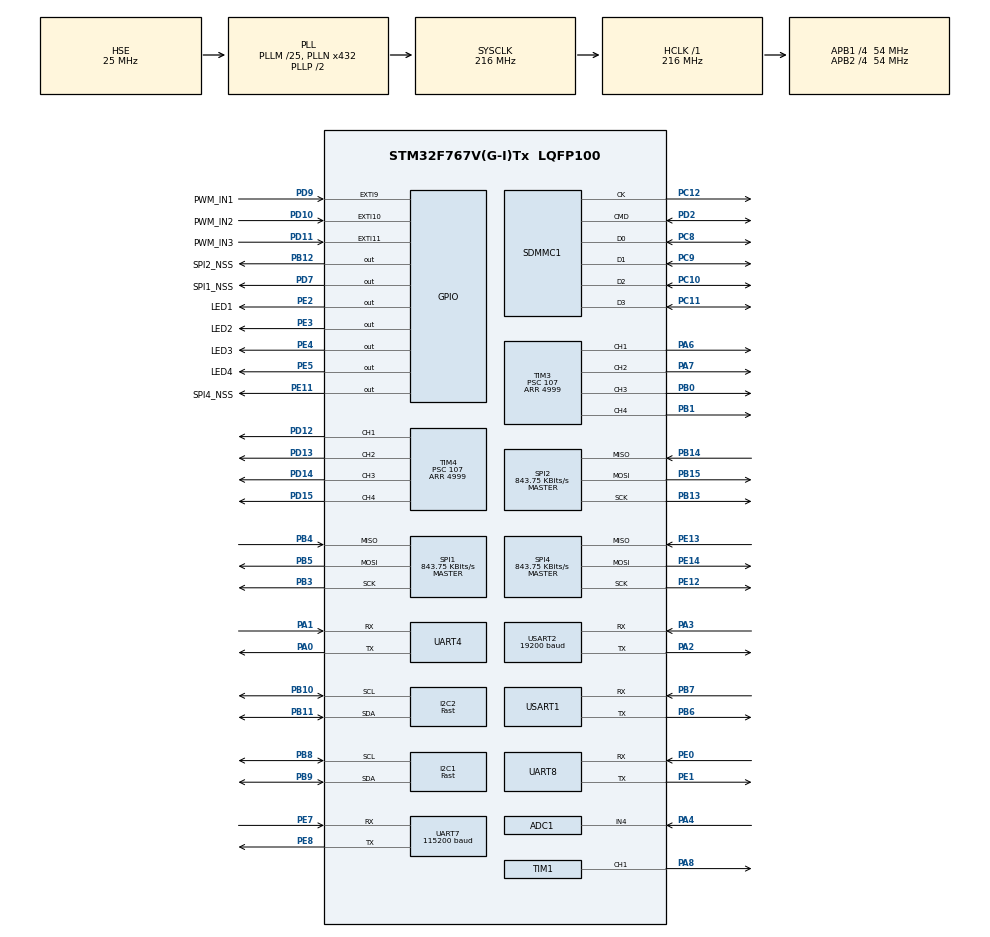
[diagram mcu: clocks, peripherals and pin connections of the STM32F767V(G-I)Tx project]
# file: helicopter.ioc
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ADC1.Channel-0\#ChannelRegularConversion=ADC_CHANNEL_4
ADC1.Channel-2\#ChannelRegularConversion=ADC_CHANNEL_4
ADC1.ClockPrescaler=ADC_CLOCK_SYNC_PCLK_DIV2
ADC1.ContinuousConvMode=DISABLE
ADC1.DMAContinuousRequests=DISABLE
ADC1.DataAlign=ADC_DATAALIGN_RIGHT
ADC1.DiscontinuousConvMode=DISABLE
ADC1.EOCSelection=ADC_EOC_SINGLE_CONV
ADC1.EnableAnalogWatchDog=false
ADC1.ExternalTrigConvEdge=ADC_EXTERNALTRIGCONVEDGE_NONE
ADC1.InjNumberOfConversion=0
ADC1.NbrOfConversion=2
ADC1.NbrOfConversionFlag=1
ADC1.Rank-0\#ChannelRegularConversion=1
ADC1.Rank-2\#ChannelRegularConversion=2
ADC1.Resolution=ADC_RESOLUTION_12B
ADC1.SamplingTime-0\#ChannelRegularConversion=ADC_SAMPLETIME_28CYCLES
ADC1.SamplingTime-2\#ChannelRegularConversion=ADC_SAMPLETIME_28CYCLES
ADC1.ScanConvMode=DISABLE
ADC1.master=1
Dma.ADC1.11.Direction=DMA_PERIPH_TO_MEMORY
Dma.ADC1.11.FIFOMode=DMA_FIFOMODE_DISABLE
Dma.ADC1.11.Instance=DMA2_Stream0
Dma.ADC1.11.MemDataAlignment=DMA_MDATAALIGN_HALFWORD
Dma.ADC1.11.MemInc=DMA_MINC_ENABLE
Dma.ADC1.11.Mode=DMA_CIRCULAR
Dma.ADC1.11.PeriphDataAlignment=DMA_PDATAALIGN_HALFWORD
Dma.ADC1.11.PeriphInc=DMA_PINC_DISABLE
Dma.ADC1.11.Priority=DMA_PRIORITY_LOW
Dma.Request0=UART8_RX
Dma.Request1=UART8_TX
Dma.Request10=USART1_TX
Dma.Request11=ADC1
Dma.Request2=UART4_RX
Dma.Request3=UART4_TX
Dma.Request4=USART2_RX
Dma.Request5=UART7_RX
Dma.Request6=UART7_TX
Dma.Request7=SDMMC1_RX
Dma.Request8=SDMMC1_TX
Dma.Request9=USART1_RX
Dma.SDMMC1_RX.7.Direction=DMA_PERIPH_TO_MEMORY
Dma.SDMMC1_RX.7.FIFOMode=DMA_FIFOMODE_ENABLE
Dma.SDMMC1_RX.7.FIFOThreshold=DMA_FIFO_THRESHOLD_FULL
Dma.SDMMC1_RX.7.Instance=DMA2_Stream3
Dma.SDMMC1_RX.7.MemBurst=DMA_MBURST_INC4
Dma.SDMMC1_RX.7.MemDataAlignment=DMA_MDATAALIGN_WORD
Dma.SDMMC1_RX.7.MemInc=DMA_MINC_ENABLE
Dma.SDMMC1_RX.7.Mode=DMA_PFCTRL
Dma.SDMMC1_RX.7.PeriphBurst=DMA_PBURST_INC4
Dma.SDMMC1_RX.7.PeriphDataAlignment=DMA_PDATAALIGN_WORD
Dma.SDMMC1_RX.7.PeriphInc=DMA_PINC_DISABLE
Dma.SDMMC1_RX.7.Priority=DMA_PRIORITY_LOW
Dma.SDMMC1_TX.8.Direction=DMA_MEMORY_TO_PERIPH
Dma.SDMMC1_TX.8.FIFOMode=DMA_FIFOMODE_ENABLE
Dma.SDMMC1_TX.8.FIFOThreshold=DMA_FIFO_THRESHOLD_FULL
Dma.SDMMC1_TX.8.Instance=DMA2_Stream6
Dma.SDMMC1_TX.8.MemBurst=DMA_MBURST_INC4
Dma.SDMMC1_TX.8.MemDataAlignment=DMA_MDATAALIGN_WORD
Dma.SDMMC1_TX.8.MemInc=DMA_MINC_ENABLE
Dma.SDMMC1_TX.8.Mode=DMA_PFCTRL
Dma.SDMMC1_TX.8.PeriphBurst=DMA_PBURST_INC4
Dma.SDMMC1_TX.8.PeriphDataAlignment=DMA_PDATAALIGN_WORD
Dma.SDMMC1_TX.8.PeriphInc=DMA_PINC_DISABLE
Dma.SDMMC1_TX.8.Priority=DMA_PRIORITY_LOW
Dma.UART4_RX.2.Direction=DMA_PERIPH_TO_MEMORY
Dma.UART4_RX.2.FIFOMode=DMA_FIFOMODE_DISABLE
Dma.UART4_RX.2.Instance=DMA1_Stream2
Dma.UART4_RX.2.MemDataAlignment=DMA_MDATAALIGN_BYTE
Dma.UART4_RX.2.MemInc=DMA_MINC_ENABLE
Dma.UART4_RX.2.Mode=DMA_NORMAL
Dma.UART4_RX.2.PeriphDataAlignment=DMA_PDATAALIGN_BYTE
Dma.UART4_RX.2.PeriphInc=DMA_PINC_DISABLE
Dma.UART4_RX.2.Priority=DMA_PRIORITY_LOW
Dma.UART4_TX.3.Direction=DMA_MEMORY_TO_PERIPH
Dma.UART4_TX.3.FIFOMode=DMA_FIFOMODE_DISABLE
Dma.UART4_TX.3.Instance=DMA1_Stream4
Dma.UART4_TX.3.MemDataAlignment=DMA_MDATAALIGN_BYTE
Dma.UART4_TX.3.MemInc=DMA_MINC_ENABLE
Dma.UART4_TX.3.Mode=DMA_NORMAL
Dma.UART4_TX.3.PeriphDataAlignment=DMA_PDATAALIGN_BYTE
Dma.UART4_TX.3.PeriphInc=DMA_PINC_DISABLE
Dma.UART4_TX.3.Priority=DMA_PRIORITY_LOW
Dma.UART7_RX.5.Direction=DMA_PERIPH_TO_MEMORY
Dma.UART7_RX.5.FIFOMode=DMA_FIFOMODE_DISABLE
Dma.UART7_RX.5.Instance=DMA1_Stream3
Dma.UART7_RX.5.MemDataAlignment=DMA_MDATAALIGN_BYTE
Dma.UART7_RX.5.MemInc=DMA_MINC_ENABLE
Dma.UART7_RX.5.Mode=DMA_NORMAL
Dma.UART7_RX.5.PeriphDataAlignment=DMA_PDATAALIGN_BYTE
Dma.UART7_RX.5.PeriphInc=DMA_PINC_DISABLE
Dma.UART7_RX.5.Priority=DMA_PRIORITY_LOW
Dma.UART7_TX.6.Direction=DMA_MEMORY_TO_PERIPH
Dma.UART7_TX.6.FIFOMode=DMA_FIFOMODE_DISABLE
Dma.UART7_TX.6.Instance=DMA1_Stream1
Dma.UART7_TX.6.MemDataAlignment=DMA_MDATAALIGN_BYTE
Dma.UART7_TX.6.MemInc=DMA_MINC_ENABLE
Dma.UART7_TX.6.Mode=DMA_NORMAL
Dma.UART7_TX.6.PeriphDataAlignment=DMA_PDATAALIGN_BYTE
Dma.UART7_TX.6.PeriphInc=DMA_PINC_DISABLE
Dma.UART7_TX.6.Priority=DMA_PRIORITY_LOW
Dma.UART8_RX.0.Direction=DMA_PERIPH_TO_MEMORY
Dma.UART8_RX.0.FIFOMode=DMA_FIFOMODE_DISABLE
Dma.UART8_RX.0.Instance=DMA1_Stream6
Dma.UART8_RX.0.MemDataAlignment=DMA_MDATAALIGN_BYTE
Dma.UART8_RX.0.MemInc=DMA_MINC_ENABLE
Dma.UART8_RX.0.Mode=DMA_NORMAL
Dma.UART8_RX.0.PeriphDataAlignment=DMA_PDATAALIGN_BYTE
Dma.UART8_RX.0.PeriphInc=DMA_PINC_DISABLE
Dma.UART8_RX.0.Priority=DMA_PRIORITY_LOW
Dma.UART8_TX.1.Direction=DMA_MEMORY_TO_PERIPH
Dma.UART8_TX.1.FIFOMode=DMA_FIFOMODE_DISABLE
Dma.UART8_TX.1.Instance=DMA1_Stream0
Dma.UART8_TX.1.MemDataAlignment=DMA_MDATAALIGN_BYTE
Dma.UART8_TX.1.MemInc=DMA_MINC_ENABLE
Dma.UART8_TX.1.Mode=DMA_NORMAL
Dma.UART8_TX.1.PeriphDataAlignment=DMA_PDATAALIGN_BYTE
Dma.UART8_TX.1.PeriphInc=DMA_PINC_DISABLE
Dma.UART8_TX.1.Priority=DMA_PRIORITY_LOW
Dma.USART1_RX.9.Direction=DMA_PERIPH_TO_MEMORY
Dma.USART1_RX.9.FIFOMode=DMA_FIFOMODE_DISABLE
Dma.USART1_RX.9.Instance=DMA2_Stream2
Dma.USART1_RX.9.MemDataAlignment=DMA_MDATAALIGN_BYTE
Dma.USART1_RX.9.MemInc=DMA_MINC_ENABLE
Dma.USART1_RX.9.Mode=DMA_NORMAL
Dma.USART1_RX.9.PeriphDataAlignment=DMA_PDATAALIGN_BYTE
Dma.USART1_RX.9.PeriphInc=DMA_PINC_DISABLE
Dma.USART1_RX.9.Priority=DMA_PRIORITY_LOW
Dma.USART1_TX.10.Direction=DMA_MEMORY_TO_PERIPH
Dma.USART1_TX.10.FIFOMode=DMA_FIFOMODE_DISABLE
Dma.USART1_TX.10.Instance=DMA2_Stream7
Dma.USART1_TX.10.MemDataAlignment=DMA_MDATAALIGN_BYTE
Dma.USART1_TX.10.MemInc=DMA_MINC_ENABLE
Dma.USART1_TX.10.Mode=DMA_NORMAL
Dma.USART1_TX.10.PeriphDataAlignment=DMA_PDATAALIGN_BYTE
Dma.USART1_TX.10.PeriphInc=DMA_PINC_DISABLE
Dma.USART1_TX.10.Priority=DMA_PRIORITY_LOW
Dma.USART2_RX.4.Direction=DMA_PERIPH_TO_MEMORY
Dma.USART2_RX.4.FIFOMode=DMA_FIFOMODE_DISABLE
Dma.USART2_RX.4.Instance=DMA1_Stream5
Dma.USART2_RX.4.MemDataAlignment=DMA_MDATAALIGN_BYTE
Dma.USART2_RX.4.MemInc=DMA_MINC_ENABLE
Dma.USART2_RX.4.Mode=DMA_NORMAL
Dma.USART2_RX.4.PeriphDataAlignment=DMA_PDATAALIGN_BYTE
Dma.USART2_RX.4.PeriphInc=DMA_PINC_DISABLE
Dma.USART2_RX.4.Priority=DMA_PRIORITY_LOW
FATFS._CODE_PAGE=936
FATFS._USE_STRFUNC=1
FREERTOS.BinarySemaphores01=myBinarySem01;myBinarySem02;myBinarySem03;myBinarySem04;myBinarySem05
FREERTOS.Tasks01=defaultTask,0,512,StartDefaultTask,Default;myTask02,-1,512,StartTask02,Default;myTask03,0,512,StartTask03,Default;myTask04,-2,512,StartTask04,Default;myTask05,-3,512,StartTask05,Default
FREERTOS.Timers01=myTimer01,Callback01,osTimerPeriodic,Default
FREERTOS.configUSE_TIMERS=1
I2C1.I2C_Speed_Mode=I2C_Fast
I2C1.Timing=0x6000030D
I2C2.I2C_Speed_Mode=I2C_Fast
I2C2.Timing=0x6000030D
Mcu.Family=STM32F7
Mcu.Name=STM32F767V(G-I)Tx
Mcu.Package=LQFP100
NVIC.DMA1_Stream0_IRQn=true\:10\:0\:true\:false\:false\:true
NVIC.DMA1_Stream1_IRQn=true\:10\:0\:true\:false\:false\:true
NVIC.DMA1_Stream2_IRQn=true\:10\:0\:true\:false\:false\:true
NVIC.DMA1_Stream3_IRQn=true\:10\:0\:true\:false\:false\:true
NVIC.DMA1_Stream4_IRQn=true\:10\:0\:true\:false\:false\:true
NVIC.DMA1_Stream5_IRQn=true\:10\:0\:true\:false\:false\:true
NVIC.DMA1_Stream6_IRQn=true\:10\:0\:true\:false\:false\:true
NVIC.DMA2_Stream0_IRQn=true\:10\:0\:true\:false\:false\:true
NVIC.DMA2_Stream2_IRQn=true\:10\:0\:true\:false\:false\:true
NVIC.DMA2_Stream3_IRQn=true\:10\:0\:true\:false\:false\:true
NVIC.DMA2_Stream6_IRQn=true\:10\:0\:true\:false\:false\:true
NVIC.DMA2_Stream7_IRQn=true\:10\:0\:true\:false\:false\:true
NVIC.EXTI15_10_IRQn=true\:6\:0\:true\:false\:false\:true
NVIC.EXTI9_5_IRQn=true\:6\:0\:true\:false\:false\:true
NVIC.PriorityGroup=NVIC_PRIORITYGROUP_4
NVIC.SDMMC1_IRQn=true\:6\:0\:true\:false\:false\:true
NVIC.TIM5_IRQn=true\:7\:0\:true\:false\:false\:true
NVIC.TIM7_IRQn=true\:0\:0\:false\:false\:false\:false
NVIC.TimeBase=TIM7_IRQn
NVIC.TimeBaseIP=TIM7
NVIC.UART4_IRQn=true\:8\:0\:true\:false\:false\:true
NVIC.UART7_IRQn=true\:8\:0\:true\:false\:false\:true
NVIC.UART8_IRQn=true\:8\:0\:true\:false\:false\:true
NVIC.USART1_IRQn=true\:8\:0\:true\:false\:false\:true
NVIC.USART2_IRQn=true\:8\:0\:true\:false\:false\:true
PA0/WKUP.Mode=Asynchronous
PA0/WKUP.Signal=UART4_TX
PA1.Mode=Asynchronous
PA1.Signal=UART4_RX
PA13.Mode=Serial_Wire
PA13.Signal=SYS_JTMS-SWDIO
PA14.Mode=Serial_Wire
PA14.Signal=SYS_JTCK-SWCLK
PA2.Mode=Asynchronous
PA2.Signal=USART2_TX
PA3.Mode=Asynchronous
PA3.Signal=USART2_RX
PA4.Signal=ADCx_IN4
PA6.Signal=S_TIM3_CH1
PA7.Signal=S_TIM3_CH2
PA8.Signal=S_TIM1_CH1
PB0.Signal=S_TIM3_CH3
PB1.Signal=S_TIM3_CH4
PB10.Mode=I2C
PB10.Signal=I2C2_SCL
PB11.Mode=I2C
PB11.Signal=I2C2_SDA
PB12.GPIO_Label=SPI2_NSS
PB12.Signal=GPIO_Output
PB13.Mode=Full_Duplex_Master
PB13.Signal=SPI2_SCK
PB14.Mode=Full_Duplex_Master
PB14.Signal=SPI2_MISO
PB15.Mode=Full_Duplex_Master
PB15.Signal=SPI2_MOSI
PB3.Mode=Full_Duplex_Master
PB3.Signal=SPI1_SCK
PB4.Mode=Full_Duplex_Master
PB4.Signal=SPI1_MISO
PB5.Mode=Full_Duplex_Master
PB5.Signal=SPI1_MOSI
PB6.Mode=Asynchronous
PB6.Signal=USART1_TX
PB7.Mode=Asynchronous
PB7.Signal=USART1_RX
PB8.Mode=I2C
PB8.Signal=I2C1_SCL
PB9.Mode=I2C
PB9.Signal=I2C1_SDA
PC10.Mode=SD_4_bits_Wide_bus
PC10.Signal=SDMMC1_D2
PC11.Mode=SD_4_bits_Wide_bus
PC11.Signal=SDMMC1_D3
PC12.Mode=SD_4_bits_Wide_bus
PC12.Signal=SDMMC1_CK
PC8.Mode=SD_4_bits_Wide_bus
PC8.Signal=SDMMC1_D0
PC9.Mode=SD_4_bits_Wide_bus
PC9.Signal=SDMMC1_D1
PD10.GPIO_Label=PWM_IN2
PD10.GPIO_ModeDefaultEXTI=GPIO_MODE_IT_RISING_FALLING
PD10.GPIO_PuPd=GPIO_PULLDOWN
PD10.Signal=GPXTI10
PD11.GPIO_Label=PWM_IN3
PD11.GPIO_ModeDefaultEXTI=GPIO_MODE_IT_RISING_FALLING
PD11.GPIO_PuPd=GPIO_PULLDOWN
PD11.Signal=GPXTI11
PD12.Signal=S_TIM4_CH1
PD13.Signal=S_TIM4_CH2
PD14.Signal=S_TIM4_CH3
PD15.Signal=S_TIM4_CH4
PD2.Mode=SD_4_bits_Wide_bus
PD2.Signal=SDMMC1_CMD
PD7.GPIO_Label=SPI1_NSS
PD7.Signal=GPIO_Output
PD9.GPIO_Label=PWM_IN1
PD9.GPIO_PuPd=GPIO_PULLDOWN
PD9.Signal=GPXTI9
PE0.Mode=Asynchronous
PE0.Signal=UART8_RX
PE1.Mode=Asynchronous
PE1.Signal=UART8_TX
PE11.GPIO_Label=SPI4_NSS
PE11.Signal=GPIO_Output
PE12.Mode=Full_Duplex_Master
PE12.Signal=SPI4_SCK
PE13.Mode=Full_Duplex_Master
PE13.Signal=SPI4_MISO
PE14.Mode=Full_Duplex_Master
PE14.Signal=SPI4_MOSI
PE2.GPIO_Label=LED1
PE2.Signal=GPIO_Output
PE3.GPIO_Label=LED2
PE3.Signal=GPIO_Output
PE4.GPIO_Label=LED3
PE4.Signal=GPIO_Output
PE5.GPIO_Label=LED4
PE5.Signal=GPIO_Output
PE7.Mode=Asynchronous
PE7.Signal=UART7_RX
PE8.Mode=Asynchronous
PE8.Signal=UART7_TX
PH0/OSC_IN.Mode=HSE-External-Oscillator
PH0/OSC_IN.Signal=RCC_OSC_IN
PH1/OSC_OUT.Mode=HSE-External-Oscillator
PH1/OSC_OUT.Signal=RCC_OSC_OUT
ProjectManager.HeapSize=0x2000
ProjectManager.StackSize=0x4000
ProjectManager.TargetToolchain=MDK-ARM V5
RCC.AHBFreq_Value=216000000
RCC.APB1CLKDivider=RCC_HCLK_DIV4
RCC.APB1Freq_Value=54000000
RCC.APB1TimFreq_Value=108000000
RCC.APB2CLKDivider=RCC_HCLK_DIV4
RCC.APB2Freq_Value=54000000
RCC.APB2TimFreq_Value=108000000
RCC.CortexFreq_Value=216000000
RCC.HCLKFreq_Value=216000000
RCC.HSE_VALUE=25000000
RCC.HSI_VALUE=16000000
RCC.LSE_VALUE=32768
RCC.PLLM=25
RCC.PLLN=432
RCC.PLLQ=9
RCC.PLLSourceVirtual=RCC_PLLSOURCE_HSE
RCC.SDMMCClockSelection=RCC_SDMMC1CLKSOURCE_CLK48
RCC.SYSCLKFreq_VALUE=216000000
RCC.SYSCLKSource=RCC_SYSCLKSOURCE_PLLCLK
RCC.USBFreq_Value=48000000
RCC.VCOOutputFreq_Value=432000000
SDMMC1.BusWide=SDMMC_BUS_WIDE_1B
SDMMC1.ClockDiv=1
SDMMC1.WideMode=SDMMC_BUS_WIDE_4B
SH.ADCx_IN4.0=ADC1_IN4,IN4
SH.S_TIM1_CH1.0=TIM1_CH1,PWM Generation1 CH1
SH.S_TIM3_CH1.0=TIM3_CH1,PWM Generation1 CH1
SH.S_TIM3_CH2.0=TIM3_CH2,PWM Generation2 CH2
SH.S_TIM3_CH3.0=TIM3_CH3,PWM Generation3 CH3
SH.S_TIM3_CH4.0=TIM3_CH4,PWM Generation4 CH4
SH.S_TIM4_CH1.0=TIM4_CH1,PWM Generation1 CH1
SH.S_TIM4_CH2.0=TIM4_CH2,PWM Generation2 CH2
SH.S_TIM4_CH3.0=TIM4_CH3,PWM Generation3 CH3
SH.S_TIM4_CH4.0=TIM4_CH4,PWM Generation4 CH4
SPI1.BaudRatePrescaler=SPI_BAUDRATEPRESCALER_64
SPI1.CLKPhase=SPI_PHASE_2EDGE
SPI1.CLKPolarity=SPI_POLARITY_HIGH
SPI1.CalculateBaudRate=843.75 KBits/s
SPI1.DataSize=SPI_DATASIZE_8BIT
SPI1.Mode=SPI_MODE_MASTER
SPI2.BaudRatePrescaler=SPI_BAUDRATEPRESCALER_64
SPI2.CLKPhase=SPI_PHASE_2EDGE
SPI2.CLKPolarity=SPI_POLARITY_HIGH
SPI2.CalculateBaudRate=843.75 KBits/s
SPI2.DataSize=SPI_DATASIZE_16BIT
SPI2.Mode=SPI_MODE_MASTER
SPI4.BaudRatePrescaler=SPI_BAUDRATEPRESCALER_64
SPI4.CLKPhase=SPI_PHASE_2EDGE
SPI4.CLKPolarity=SPI_POLARITY_HIGH
SPI4.CalculateBaudRate=843.75 KBits/s
SPI4.DataSize=SPI_DATASIZE_8BIT
SPI4.Mode=SPI_MODE_MASTER
TIM1.Period=999
TIM1.Prescaler=107
TIM2.Period=0xffffffff
TIM2.Prescaler=107
TIM3.Channel-PWM\ Generation2\ CH2=TIM_CHANNEL_2
TIM3.Channel-PWM\ Generation3\ CH3=TIM_CHANNEL_3
TIM3.Channel-PWM\ Generation4\ CH4=TIM_CHANNEL_4
TIM3.Period=4999
TIM3.Prescaler=107
TIM4.Channel-PWM\ Generation2\ CH2=TIM_CHANNEL_2
TIM4.Channel-PWM\ Generation3\ CH3=TIM_CHANNEL_3
TIM4.Channel-PWM\ Generation4\ CH4=TIM_CHANNEL_4
TIM4.Period=4999
TIM4.Prescaler=107
TIM5.Period=999
TIM5.Prescaler=107
UART4.DMADisableonRxErrorParam=UART_ADVFEATURE_DMA_DISABLEONRXERROR
UART4.OverrunDisableParam=UART_ADVFEATURE_OVERRUN_DISABLE
UART4.WordLength=UART_WORDLENGTH_8B
UART7.BaudRate=115200
UART7.DMADisableonRxErrorParam=UART_ADVFEATURE_DMA_DISABLEONRXERROR
UART7.OverrunDisableParam=UART_ADVFEATURE_OVERRUN_DISABLE
UART7.WordLength=UART_WORDLENGTH_8B
UART8.DMADisableonRxErrorParam=UART_ADVFEATURE_DMA_DISABLEONRXERROR
UART8.OverrunDisableParam=UART_ADVFEATURE_OVERRUN_DISABLE
UART8.WordLength=UART_WORDLENGTH_8B
USART1.DMADisableonRxErrorParam=UART_ADVFEATURE_DMA_DISABLEONRXERROR
USART1.OverrunDisableParam=UART_ADVFEATURE_OVERRUN_DISABLE
USART1.WordLength=UART_WORDLENGTH_8B
USART2.BaudRate=19200
USART2.DMADisableonRxErrorParam=UART_ADVFEATURE_DMA_DISABLEONRXERROR
USART2.OverrunDisableParam=UART_ADVFEATURE_OVERRUN_DISABLE
USART2.WordLength=UART_WORDLENGTH_8B
VP_ADC1_TempSens_Input.Mode=IN-TempSens
VP_FATFS_VS_SDIO.Mode=SDIO
VP_FREERTOS_VS_ENABLE.Mode=Enabled
VP_SYS_VS_tim7.Mode=TIM7
VP_TIM1_VS_ClockSourceINT.Mode=Internal
VP_TIM2_VS_ClockSourceINT.Mode=Internal
VP_TIM3_VS_ClockSourceINT.Mode=Internal
VP_TIM4_VS_ClockSourceINT.Mode=Internal
VP_TIM5_VS_ClockSourceINT.Mode=Internal
board=ductetVehicle

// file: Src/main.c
/**
  ******************************************************************************
  * File Name          : main.c
  * Description        : Main program body
  ******************************************************************************
  *
  * Copyright (c) 2017 STMicroelectronics International N.V.
  * All rights reserved.
  *
  * Redistribution and use in source and binary forms, with or without
  * modification, are permitted, provided that the following conditions are met:
  *
  * 1. Redistribution of source code must retain the above copyright notice,
  *    this list of conditions and the following disclaimer.
  * 2. Redistributions in binary form must reproduce the above copyright notice,
  *    this list of conditions and the following disclaimer in the documentation
  *    and/or other materials provided with the distribution.
  * 3. Neither the name of STMicroelectronics nor the names of other
  *    contributors to this software may be used to endorse or promote products
  *    derived from this software without specific written permission.
  * 4. This software, including modifications and/or derivative works of this
  *    software, must execute solely and exclusively on microcontroller or
  *    microprocessor devices manufactured by or for STMicroelectronics.
  * 5. Redistribution and use of this software other than as permitted under
  *    this license is void and will automatically terminate your rights under
  *    this license.
  *
  * THIS SOFTWARE IS PROVIDED BY STMICROELECTRONICS AND CONTRIBUTORS "AS IS"
  * AND ANY EXPRESS, IMPLIED OR STATUTORY WARRANTIES, INCLUDING, BUT NOT
  * LIMITED TO, THE IMPLIED WARRANTIES OF MERCHANTABILITY, FITNESS FOR A
  * PARTICULAR PURPOSE AND NON-INFRINGEMENT OF THIRD PARTY INTELLECTUAL PROPERTY
  * RIGHTS ARE DISCLAIMED TO THE FULLEST EXTENT PERMITTED BY LAW. IN NO EVENT
  * SHALL STMICROELECTRONICS OR CONTRIBUTORS BE LIABLE FOR ANY DIRECT, INDIRECT,
  * INCIDENTAL, SPECIAL, EXEMPLARY, OR CONSEQUENTIAL DAMAGES (INCLUDING, BUT NOT
  * LIMITED TO, PROCUREMENT OF SUBSTITUTE GOODS OR SERVICES; LOSS OF USE, DATA,
  * OR PROFITS; OR BUSINESS INTERRUPTION) HOWEVER CAUSED AND ON ANY THEORY OF
  * LIABILITY, WHETHER IN CONTRACT, STRICT LIABILITY, OR TORT (INCLUDING
  * NEGLIGENCE OR OTHERWISE) ARISING IN ANY WAY OUT OF THE USE OF THIS SOFTWARE,
  * EVEN IF ADVISED OF THE POSSIBILITY OF SUCH DAMAGE.
  *
  ******************************************************************************
  */
#include "main.h"
#include "stm32f7xx_hal.h"
#include "cmsis_os.h"
#include "adc.h"
#include "dma.h"
#include "fatfs.h"
#include "i2c.h"
#include "sdmmc.h"
#include "spi.h"
#include "tim.h"
#include "usart.h"
#include "gpio.h"

/* USER CODE BEGIN PV */
/* Private variables ---------------------------------------------------------*/

/* USER CODE END PV */

void SystemClock_Config(void);
void Error_Handler(void);
void MX_FREERTOS_Init(void);

/* USER CODE BEGIN PFP */
/* Private function prototypes -----------------------------------------------*/

/* USER CODE END PFP */

int main(void)
{

  /* MCU Configuration----------------------------------------------------------*/

  /* Reset of all peripherals, Initializes the Flash interface and the Systick. */  HAL_Init();

  /* Configure the system clock */
  SystemClock_Config();

  /* Initialize all configured peripherals */
  MX_GPIO_Init();
  MX_DMA_Init();
  MX_SDMMC1_SD_Init();
  MX_TIM1_Init();
  MX_TIM2_Init();
  MX_UART8_Init();
  MX_ADC1_Init();
  MX_I2C1_Init();
  MX_I2C2_Init();
  MX_SPI1_Init();
  MX_SPI2_Init();
  MX_SPI4_Init();
  MX_TIM3_Init();
  MX_TIM4_Init();
  MX_UART4_Init();
  MX_UART7_Init();
  MX_USART1_UART_Init();
  MX_USART2_UART_Init();
  MX_TIM5_Init();

  /* Call init function for freertos objects (in freertos.c) */
  MX_FREERTOS_Init();

  /* Start scheduler */
  osKernelStart();

  /* We should never get here as control is now taken by the scheduler */

  /* Infinite loop */
  while (1)
  {

  }

}

/** System Clock Configuration
*/
void SystemClock_Config(void)
{

  RCC_OscInitTypeDef RCC_OscInitStruct;
  RCC_ClkInitTypeDef RCC_ClkInitStruct;
  RCC_PeriphCLKInitTypeDef PeriphClkInitStruct;

    /**Configure the main internal regulator output voltage
    */
  __HAL_RCC_PWR_CLK_ENABLE();

  __HAL_PWR_VOLTAGESCALING_CONFIG(PWR_REGULATOR_VOLTAGE_SCALE1);

    /**Initializes the CPU, AHB and APB busses clocks
    */
  RCC_OscInitStruct.OscillatorType = RCC_OSCILLATORTYPE_HSE;
  RCC_OscInitStruct.HSEState = RCC_HSE_ON;
  RCC_OscInitStruct.PLL.PLLState = RCC_PLL_ON;
  RCC_OscInitStruct.PLL.PLLSource = RCC_PLLSOURCE_HSE;
  RCC_OscInitStruct.PLL.PLLM = 25;
  RCC_OscInitStruct.PLL.PLLN = 432;
  RCC_OscInitStruct.PLL.PLLP = RCC_PLLP_DIV2;
  RCC_OscInitStruct.PLL.PLLQ = 9;
  if (HAL_RCC_OscConfig(&RCC_OscInitStruct) != HAL_OK)
  {
    Error_Handler();
  }

    /**Activate the Over-Drive mode
    */
  if (HAL_PWREx_EnableOverDrive() != HAL_OK)
  {
    Error_Handler();
  }

    /**Initializes the CPU, AHB and APB busses clocks
    */
  RCC_ClkInitStruct.ClockType = RCC_CLOCKTYPE_HCLK|RCC_CLOCKTYPE_SYSCLK
                              |RCC_CLOCKTYPE_PCLK1|RCC_CLOCKTYPE_PCLK2;
  RCC_ClkInitStruct.SYSCLKSource = RCC_SYSCLKSOURCE_PLLCLK;
  RCC_ClkInitStruct.AHBCLKDivider = RCC_SYSCLK_DIV1;
  RCC_ClkInitStruct.APB1CLKDivider = RCC_HCLK_DIV4;
  RCC_ClkInitStruct.APB2CLKDivider = RCC_HCLK_DIV4;

  if (HAL_RCC_ClockConfig(&RCC_ClkInitStruct, FLASH_LATENCY_7) != HAL_OK)
  {
    Error_Handler();
  }

  PeriphClkInitStruct.PeriphClockSelection = RCC_PERIPHCLK_USART1|RCC_PERIPHCLK_USART2
                              |RCC_PERIPHCLK_UART4|RCC_PERIPHCLK_UART7
                              |RCC_PERIPHCLK_UART8|RCC_PERIPHCLK_I2C1
                              |RCC_PERIPHCLK_I2C2|RCC_PERIPHCLK_SDMMC1
                              |RCC_PERIPHCLK_CLK48;
  PeriphClkInitStruct.Usart1ClockSelection = RCC_USART1CLKSOURCE_PCLK2;
  PeriphClkInitStruct.Usart2ClockSelection = RCC_USART2CLKSOURCE_PCLK1;
  PeriphClkInitStruct.Uart4ClockSelection = RCC_UART4CLKSOURCE_PCLK1;
  PeriphClkInitStruct.Uart7ClockSelection = RCC_UART7CLKSOURCE_PCLK1;
  PeriphClkInitStruct.Uart8ClockSelection = RCC_UART8CLKSOURCE_PCLK1;
  PeriphClkInitStruct.I2c1ClockSelection = RCC_I2C1CLKSOURCE_PCLK1;
  PeriphClkInitStruct.I2c2ClockSelection = RCC_I2C2CLKSOURCE_PCLK1;
  PeriphClkInitStruct.Clk48ClockSelection = RCC_CLK48SOURCE_PLL;
  PeriphClkInitStruct.Sdmmc1ClockSelection = RCC_SDMMC1CLKSOURCE_CLK48;
  if (HAL_RCCEx_PeriphCLKConfig(&PeriphClkInitStruct) != HAL_OK)
  {
    Error_Handler();
  }

    /**Configure the Systick interrupt time
    */
  HAL_SYSTICK_Config(HAL_RCC_GetHCLKFreq()/1000);

    /**Configure the Systick
    */
  HAL_SYSTICK_CLKSourceConfig(SYSTICK_CLKSOURCE_HCLK);

  /* SysTick_IRQn interrupt configuration */
  HAL_NVIC_SetPriority(SysTick_IRQn, 15, 0);
}

void HAL_TIM_PeriodElapsedCallback(TIM_HandleTypeDef *htim)
{
  if (htim->Instance == TIM7) {
    HAL_IncTick();
  }
}

void Error_Handler(void)
{
  while(1)
  {
  }
}

/************************ (C) COPYRIGHT STMicroelectronics *****END OF FILE****/

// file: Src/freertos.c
/**
  ******************************************************************************
  * File Name          : freertos.c
  * Description        : Code for freertos applications
  ******************************************************************************
  *
  * Copyright (c) 2017 STMicroelectronics International N.V.
  * All rights reserved.
  *
  * Redistribution and use in source and binary forms, with or without
  * modification, are permitted, provided that the following conditions are met:
  *
  * 1. Redistribution of source code must retain the above copyright notice,
  *    this list of conditions and the following disclaimer.
  * 2. Redistributions in binary form must reproduce the above copyright notice,
  *    this list of conditions and the following disclaimer in the documentation
  *    and/or other materials provided with the distribution.
  * 3. Neither the name of STMicroelectronics nor the names of other
  *    contributors to this software may be used to endorse or promote products
  *    derived from this software without specific written permission.
  * 4. This software, including modifications and/or derivative works of this
  *    software, must execute solely and exclusively on microcontroller or
  *    microprocessor devices manufactured by or for STMicroelectronics.
  * 5. Redistribution and use of this software other than as permitted under
  *    this license is void and will automatically terminate your rights under
  *    this license.
  *
  * THIS SOFTWARE IS PROVIDED BY STMICROELECTRONICS AND CONTRIBUTORS "AS IS"
  * AND ANY EXPRESS, IMPLIED OR STATUTORY WARRANTIES, INCLUDING, BUT NOT
  * LIMITED TO, THE IMPLIED WARRANTIES OF MERCHANTABILITY, FITNESS FOR A
  * PARTICULAR PURPOSE AND NON-INFRINGEMENT OF THIRD PARTY INTELLECTUAL PROPERTY
  * RIGHTS ARE DISCLAIMED TO THE FULLEST EXTENT PERMITTED BY LAW. IN NO EVENT
  * SHALL STMICROELECTRONICS OR CONTRIBUTORS BE LIABLE FOR ANY DIRECT, INDIRECT,
  * INCIDENTAL, SPECIAL, EXEMPLARY, OR CONSEQUENTIAL DAMAGES (INCLUDING, BUT NOT
  * LIMITED TO, PROCUREMENT OF SUBSTITUTE GOODS OR SERVICES; LOSS OF USE, DATA,
  * OR PROFITS; OR BUSINESS INTERRUPTION) HOWEVER CAUSED AND ON ANY THEORY OF
  * LIABILITY, WHETHER IN CONTRACT, STRICT LIABILITY, OR TORT (INCLUDING
  * NEGLIGENCE OR OTHERWISE) ARISING IN ANY WAY OUT OF THE USE OF THIS SOFTWARE,
  * EVEN IF ADVISED OF THE POSSIBILITY OF SUCH DAMAGE.
  *
  ******************************************************************************
  */

#include "FreeRTOS.h"
#include "task.h"
#include "cmsis_os.h"

/* USER CODE BEGIN Includes */
#include "system.h"
/* USER CODE END Includes */

osThreadId defaultTaskHandle;
osThreadId myTask02Handle;
osThreadId myTask03Handle;
osThreadId myTask04Handle;
osThreadId myTask05Handle;
osTimerId myTimer01Handle;
osSemaphoreId myBinarySem01Handle;
osSemaphoreId myBinarySem02Handle;
osSemaphoreId myBinarySem03Handle;
osSemaphoreId myBinarySem04Handle;
osSemaphoreId myBinarySem05Handle;

/* USER CODE BEGIN Variables */
bool SYNC_FLAG = false;
/* USER CODE END Variables */

void StartDefaultTask(void const * argument);
void StartTask02(void const * argument);
void StartTask03(void const * argument);
void StartTask04(void const * argument);
void StartTask05(void const * argument);
void Callback01(void const * argument);

extern void MX_FATFS_Init(void);
void MX_FREERTOS_Init(void); /* (MISRA C 2004 rule 8.1) */

/* Hook prototypes */

/* Init FreeRTOS */

void MX_FREERTOS_Init(void) {
  /* USER CODE BEGIN Init */
  Sys_Init();
  /* USER CODE END Init */

  /* Create the semaphores(s) */
  /* definition and creation of myBinarySem01 */
  osSemaphoreDef(myBinarySem01);
  myBinarySem01Handle = osSemaphoreCreate(osSemaphore(myBinarySem01), 1);

  /* definition and creation of myBinarySem02 */
  osSemaphoreDef(myBinarySem02);
  myBinarySem02Handle = osSemaphoreCreate(osSemaphore(myBinarySem02), 1);

  /* definition and creation of myBinarySem03 */
  osSemaphoreDef(myBinarySem03);
  myBinarySem03Handle = osSemaphoreCreate(osSemaphore(myBinarySem03), 1);

  /* definition and creation of myBinarySem04 */
  osSemaphoreDef(myBinarySem04);
  myBinarySem04Handle = osSemaphoreCreate(osSemaphore(myBinarySem04), 1);

  /* definition and creation of myBinarySem05 */
  osSemaphoreDef(myBinarySem05);
  myBinarySem05Handle = osSemaphoreCreate(osSemaphore(myBinarySem05), 1);

  /* Create the timer(s) */
  /* definition and creation of myTimer01 */
  osTimerDef(myTimer01, Callback01);
  myTimer01Handle = osTimerCreate(osTimer(myTimer01), osTimerPeriodic, NULL);

  /* USER CODE BEGIN RTOS_TIMERS */
  /* start timers, add new ones, ... */
  osTimerStart(myTimer01Handle, 1);
  /* USER CODE END RTOS_TIMERS */

  /* Create the thread(s) */
  /* definition and creation of defaultTask */
  osThreadDef(defaultTask, StartDefaultTask, osPriorityNormal, 0, 512);
  defaultTaskHandle = osThreadCreate(osThread(defaultTask), NULL);

  /* definition and creation of myTask02 */
  osThreadDef(myTask02, StartTask02, osPriorityNormal, 0, 512);
  myTask02Handle = osThreadCreate(osThread(myTask02), NULL);

  /* definition and creation of myTask03 */
  osThreadDef(myTask03, StartTask03, osPriorityNormal, 0, 512);
  myTask03Handle = osThreadCreate(osThread(myTask03), NULL);

  /* definition and creation of myTask04 */
  osThreadDef(myTask04, StartTask04, osPriorityLow, 0, 512);
  myTask04Handle = osThreadCreate(osThread(myTask04), NULL);

  /* definition and creation of myTask05 */
  osThreadDef(myTask05, StartTask05, osPriorityIdle, 0, 512);
  myTask05Handle = osThreadCreate(osThread(myTask05), NULL);

}

/* StartDefaultTask function */
void StartDefaultTask(void const * argument)
{
  /* init code for FATFS */
  MX_FATFS_Init();

  /* USER CODE BEGIN StartDefaultTask */
	SYNC_FLAG = true;
  /* Infinite loop */
  for(;;)
  {
    osSemaphoreWait(myBinarySem01Handle,osWaitForever);
	  Sys_1ms();
  }
  /* USER CODE END StartDefaultTask */
}

/* StartTask02 function */
void StartTask02(void const * argument)
{
  /* USER CODE BEGIN StartTask02 */
  /* Infinite loop */
  for(;;)
  {
    osSemaphoreWait(myBinarySem02Handle,osWaitForever);
	  Sys_Get();
  }
  /* USER CODE END StartTask02 */
}

/* StartTask03 function */
void StartTask03(void const * argument)
{
  /* USER CODE BEGIN StartTask03 */
  /* Infinite loop */
  for(;;)
  {
    osSemaphoreWait(myBinarySem03Handle,osWaitForever);
	  Sys_Run();
  }
  /* USER CODE END StartTask03 */
}

/* StartTask04 function */
void StartTask04(void const * argument)
{
  /* USER CODE BEGIN StartTask04 */
  /* Infinite loop */
  for(;;)
  {
    osSemaphoreWait(myBinarySem04Handle,osWaitForever);
	  Sys_Spr();
		SPEED=rotate_get(mot,exitx);
		Dprintf("%d\r\n",SPEED);
  }
  /* USER CODE END StartTask04 */
}

/* StartTask05 function */
void StartTask05(void const * argument)
{
  /* USER CODE BEGIN StartTask05 */
  /* Infinite loop */
  for(;;)
  {
    osSemaphoreWait(myBinarySem05Handle,osWaitForever);
	  Sys_Chk();

  }
  /* USER CODE END StartTask05 */
}

/* Callback01 function */
void Callback01(void const * argument)
{
  /* USER CODE BEGIN Callback01 */
  static u32 Timer = 0;
  static u32 TaskTime[5]={1,5,10,20,50};
  Timer++;
  if(Timer%TaskTime[0]==TaskTime[0]-1)osSemaphoreRelease(myBinarySem01Handle);
	if(SYNC_FLAG==false)return;
  if(Timer%TaskTime[1]==TaskTime[1]-1)osSemaphoreRelease(myBinarySem02Handle);
  if(Timer%TaskTime[2]==TaskTime[2]-1)osSemaphoreRelease(myBinarySem03Handle);
  if(Timer%TaskTime[3]==TaskTime[3]-1)osSemaphoreRelease(myBinarySem04Handle);
  if(Timer%TaskTime[4]==TaskTime[4]-1)osSemaphoreRelease(myBinarySem05Handle);
  /* USER CODE END Callback01 */
}

/************************ (C) COPYRIGHT STMicroelectronics *****END OF FILE****/
